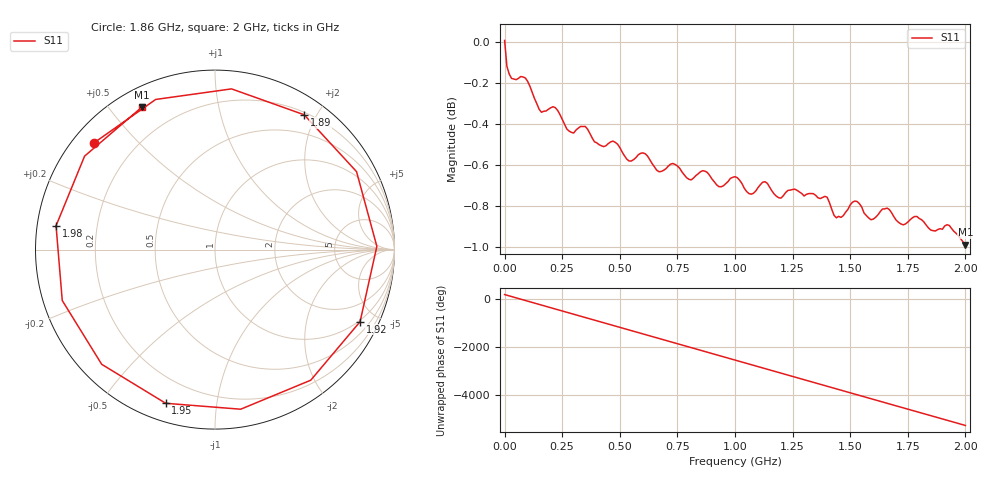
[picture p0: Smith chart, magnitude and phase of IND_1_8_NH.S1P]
!Agilent Technologies,E5071C,MY46520295,B.13.20
!Date: Fri Feb 09 07:01:28 2024
!Data & Calibration Information:
!Freq	S11:NONE(--)
!PortZ  Port1:50+j0
!Above PortZ is port z conversion or system Z0 setting when saving the data.
!When reading, reference impedance value at option line is always used.
# Hz S RI R 50
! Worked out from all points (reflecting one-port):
!   201 points, 300 kHz to 2 GHz, reference 50 ohm
!   lowest |S11| = -1.0 dB at 2 GHz (marker M1), VSWR 17.61, Z = 3.9 + j30.4 ohm
!   phase of S11 starts at 179 deg and turns -5462 deg over the sweep
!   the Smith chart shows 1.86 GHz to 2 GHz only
!   S11 on the Smith chart (normalised r, x): 1.86 GHz: 0.06, +0.38; 1.89 GHz: 0.23, +1.84; 1.92 GHz: 0.94, -4.06; 1.95 GHz: 0.08, -0.73; 1.98 GHz: 0.06, +0.07; 2 GHz: 0.08, +0.61
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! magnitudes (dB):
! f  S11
! 300 kHz  0.0
! 10.3 MHz  -0.1
! 30.29 MHz  -0.2
! 90.27 MHz  -0.2
! 160.3 MHz  -0.3
! 210.2 MHz  -0.3
! 250.2 MHz  -0.4
! 500.1 MHz  -0.5
! 540.1 MHz  -0.6
! 610.1 MHz  -0.5
! 670.1 MHz  -0.6
! 750.1 MHz  -0.6
! 930 MHz  -0.7
! 1 GHz  -0.7
! 1.07 GHz  -0.7
! 1.13 GHz  -0.7
! 1.19 GHz  -0.8
! 1.25 GHz  -0.7
! 1.4 GHz  -0.8
! 1.44 GHz  -0.9
! 1.5 GHz  -0.8
! 1.75 GHz  -0.9
! 1.86 GHz  -0.9
! 1.89 GHz  -0.9
! 1.92 GHz  -0.9
! 1.95 GHz  -0.9
! 1.98 GHz  -1.0
! 2 GHz  -1.0
